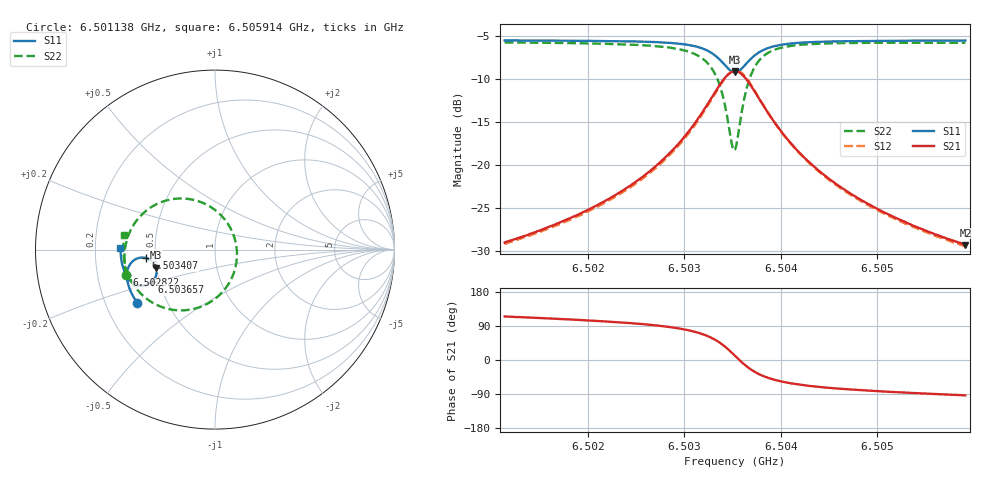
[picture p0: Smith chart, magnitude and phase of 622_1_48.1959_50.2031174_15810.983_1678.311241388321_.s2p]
#  HZ  S  RI  R  50.00
! Rohde & Schwarz Vector Network Analyzer
! Rohde-Schwarz,ZNB20-2Port,1311601062101988,3.16
! Created: UTC 3/20/2024, 12:03:56 PM
! freq[Hz]  re:S11  im:S11  re:S21  im:S21  re:S12  im:S12  re:S22  im:S22
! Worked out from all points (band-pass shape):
!   401 points, 6.501138 GHz to 6.505914 GHz, reference 50 ohm
!   highest |S21| = -9.15 dB at 6.503526 GHz (marker M1); lowest = -29.3 dB at 6.505914 GHz (marker M2)
!   |S21| within 3 dB of the highest: 6.503288 GHz to 6.503765 GHz (477.8 kHz wide, 0.00735 % of centre)
!   lowest |S11| = -9.3 dB at 6.503526 GHz (marker M3), VSWR 2.05, Z = 24.8 - j5.63 ohm
!   |S11| at or under -10 dB: nowhere
!   |S22| runs from -18.3 to -5.8 dB; largest |S21 - S12| = 0.012
!   S11 on the Smith chart (normalised r, x): 6.501138 GHz: 0.34, -0.28; 6.502822 GHz: 0.33, -0.13; 6.503407 GHz: 0.44, -0.05; 6.503657 GHz: 0.45, -0.19; 6.505914 GHz: 0.31, +0.01
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6.5011378e9  -0.435 -0.2973  -0.0148 0.0319  -0.0131 0.0321  -0.4943 -0.1388
6.5019379e9  -0.4682 -0.2364  -0.0139 0.0506  -0.0113 0.05  -0.5048 -0.0507
6.5023677e9  -0.4827 -0.1972  -0.0108 0.0702  -0.00769 0.0691  -0.5001 0.0131
6.5027379e9  -0.4906 -0.1546  -0.000821 0.1018  0.00311 0.0992  -0.4779 0.0912
6.5028215e9  -0.491 -0.1429  0.00417 0.1125  0.00807 0.1095  -0.4671 0.1143
6.5030245e9  -0.4861 -0.1088  0.0275 0.1479  0.0313 0.1434  -0.4187 0.1837
6.5031678e9  -0.4713 -0.0788  0.0662 0.1822  0.0689 0.1763  -0.344 0.2435
6.5033111e9  -0.432 -0.0491  0.1498 0.2115  0.1508 0.2052  -0.1911 0.2848
6.5033588e9  -0.4101 -0.0444  0.1936 0.21  0.194 0.2042  -0.1143 0.2758
6.5034066e9  -0.3841 -0.0467  0.2439 0.1943  0.2442 0.1895  -0.0284 0.2402
6.5034902e9  -0.34 -0.077  0.3245 0.1173  0.3272 0.1131  0.1004 0.0887
6.503526e9  -0.3287 -0.0999  0.3424 0.0672  0.3466 0.0617  0.1219 -0.00579
6.5035499e9  -0.3256 -0.1167  0.3459 0.0315  0.3505 0.0244  0.1193 -0.0713
6.5035857e9  -0.3279 -0.1418  0.3382 -0.0203  0.3424 -0.0296  0.0912 -0.1631
6.5036574e9  -0.3509 -0.1802  0.29 -0.0987  0.2902 -0.111  -0.0228 -0.2904
6.5037529e9  -0.3931 -0.2004  0.2091 -0.1433  0.2043 -0.1541  -0.1875 -0.3386
6.5039081e9  -0.4435 -0.1931  0.1185 -0.1423  0.1111 -0.1482  -0.3522 -0.2934
6.5040753e9  -0.4734 -0.1719  0.0692 -0.1207  0.0625 -0.1234  -0.4323 -0.2245
6.5043261e9  -0.4961 -0.1406  0.0355 -0.093  0.0303 -0.0937  -0.4811 -0.1449
6.5046962e9  -0.5122 -0.1005  0.0152 -0.0676  0.0117 -0.0675  -0.5048 -0.0665
6.5051261e9  -0.5213 -0.0599  0.00534 -0.0506  0.00301 -0.0501  -0.5111 -0.00301
6.5059142e9  -0.5266 0.00754  -0.00202 -0.0341  -0.00339 -0.0334  -0.5043 0.0836
